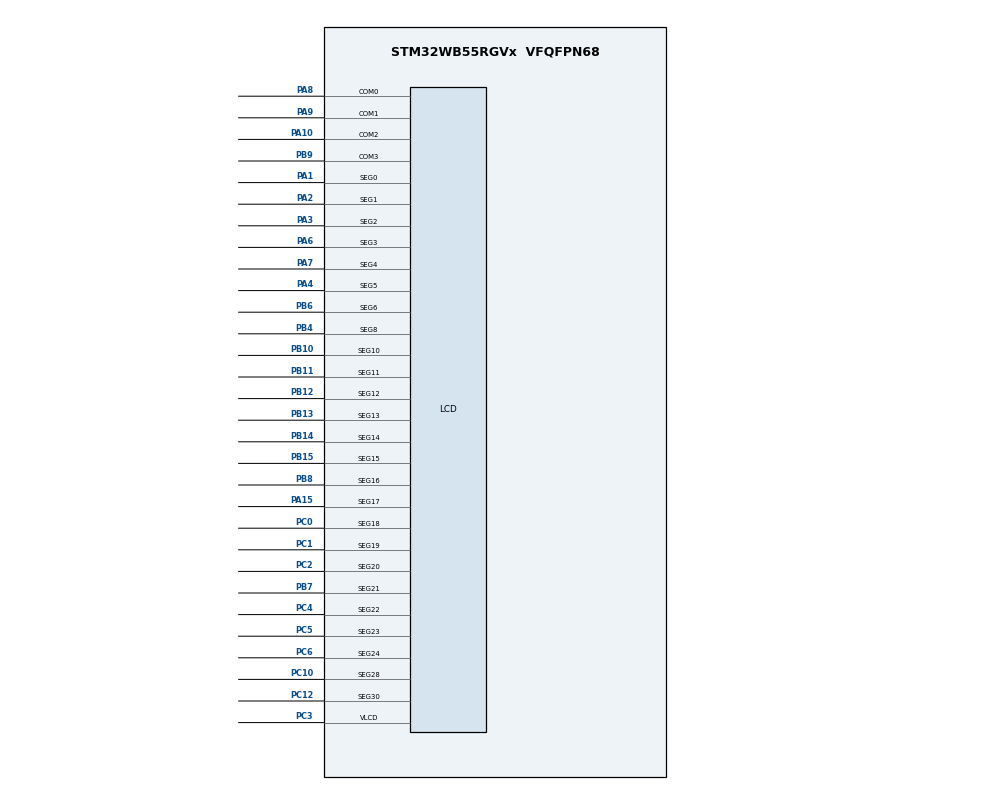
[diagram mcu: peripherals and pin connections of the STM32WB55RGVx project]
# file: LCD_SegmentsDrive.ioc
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LCD.Prescaler=LCD_PRESCALER_4
LCD.PulseOnDuration=LCD_PULSEONDURATION_2
Mcu.Family=STM32WB
Mcu.Name=STM32WB55RGVx
Mcu.Package=VFQFPN68
NVIC.LCD_IRQn=true\:0\:0\:false\:false\:true\:true\:false
NVIC.PriorityGroup=NVIC_PRIORITYGROUP_4
OSC_IN.Signal=RCC_OSC_IN
OSC_OUT.Signal=RCC_OSC_OUT
PA1.Mode=SEG0
PA1.Signal=LCD_SEG0
PA10.Mode=1/4 Duty Cycle
PA10.Signal=LCD_COM2
PA13.GPIO_Label=JTMS
PA13.Signal=SYS_JTMS-SWDIO
PA14.GPIO_Label=JTCK
PA14.Signal=SYS_JTCK-SWCLK
PA15.Mode=SEG17
PA15.Signal=LCD_SEG17
PA2.Mode=SEG1
PA2.Signal=LCD_SEG1
PA3.Mode=SEG2
PA3.Signal=LCD_SEG2
PA4.Mode=SEG5
PA4.Signal=LCD_SEG5
PA6.Mode=SEG3
PA6.Signal=LCD_SEG3
PA7.Mode=SEG4
PA7.Signal=LCD_SEG4
PA8.Mode=1/4 Duty Cycle
PA8.Signal=LCD_COM0
PA9.Mode=1/4 Duty Cycle
PA9.Signal=LCD_COM1
PB10.Mode=SEG10
PB10.Signal=LCD_SEG10
PB11.Mode=SEG11
PB11.Signal=LCD_SEG11
PB12.Mode=SEG12
PB12.Signal=LCD_SEG12
PB13.Mode=SEG13
PB13.Signal=LCD_SEG13
PB14.Mode=SEG14
PB14.Signal=LCD_SEG14
PB15.Mode=SEG15
PB15.Signal=LCD_SEG15
PB3.GPIO_Label=JTDO
PB3.Signal=SYS_JTDO-SWO
PB4.Mode=SEG8
PB4.Signal=LCD_SEG8
PB6.Mode=SEG6
PB6.Signal=LCD_SEG6
PB7.Mode=SEG21
PB7.Signal=LCD_SEG21
PB8.Mode=SEG16
PB8.Signal=LCD_SEG16
PB9.Mode=1/4 Duty Cycle
PB9.Signal=LCD_COM3
PC0.Mode=SEG18
PC0.Signal=LCD_SEG18
PC1.Mode=SEG19
PC1.Signal=LCD_SEG19
PC10.Mode=SEG28
PC10.Signal=LCD_SEG28
PC12.Mode=SEG30
PC12.Signal=LCD_SEG30
PC13.Signal=SYS_WKUP2
PC14-OSC32_IN.Signal=RCC_OSC32_IN
PC15-OSC32_OUT.Signal=RCC_OSC32_OUT
PC2.Mode=SEG20
PC2.Signal=LCD_SEG20
PC3.Mode=1/4 Duty Cycle
PC3.Signal=LCD_VLCD
PC4.Mode=SEG22
PC4.Signal=LCD_SEG22
PC5.Mode=SEG23
PC5.Signal=LCD_SEG23
PC6.Mode=SEG24
PC6.Signal=LCD_SEG24
ProjectManager.HeapSize=0x200
ProjectManager.StackSize=0x400
ProjectManager.TargetToolchain=EWARM V8
RCC.ADCFreq_Value=16000000
RCC.AHB2CLKDivider=RCC_SYSCLK_DIV2
RCC.AHBFreq_Value=64000000
RCC.APB1Freq_Value=64000000
RCC.APB1TimFreq_Value=64000000
RCC.APB2Freq_Value=64000000
RCC.APB2TimFreq_Value=64000000
RCC.APB3Freq_Value=16000000
RCC.Cortex2_Div=SYSTICK_CLKSOURCE_HCLK_DIV8
RCC.CortexFreq_Value=64000000
RCC.HCLKFreq_Value=64000000
RCC.HSE_VALUE=32000000
RCC.HSI48_VALUE=48000000
RCC.HSI_VALUE=16000000
RCC.LSE_VALUE=32768
RCC.PLLN=32
RCC.SMPSCLockSelectionVirtual=RCC_SMPSCLKSOURCE_HSI
RCC.SMPSCLockSelectionVirtualVirtual=RCC_SMPSCLKSOURCE_HSI
RCC.SYSCLKFreq_VALUE=64000000
RCC.SYSCLKSource=RCC_SYSCLKSOURCE_PLLCLK
RCC.USBFreq_Value=16000000
RCC.VCOOutputFreq_Value=128000000
VP_LCD_LCD_mux.Mode=Multiplex
board=P-NUCLEO-WB55.Nucleo

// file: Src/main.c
/* USER CODE BEGIN Header */
/**
  ******************************************************************************
  * @file           : main.c
  * @brief          : Main program body
  ******************************************************************************
  * @attention
  *
  * <h2><center>&copy; Copyright (c) 2019 STMicroelectronics.
  * All rights reserved.</center></h2>
  *
  * This software component is licensed by ST under BSD 3-Clause license,
  * the "License"; You may not use this file except in compliance with the
  * License. You may obtain a copy of the License at:
  *                        opensource.org/licenses/BSD-3-Clause
  *
  ******************************************************************************
  */
/* USER CODE END Header */
#include "main.h"

LCD_HandleTypeDef hlcd;

void SystemClock_Config(void);
static void MX_GPIO_Init(void);
static void MX_LCD_Init(void);

int main(void)
{

  /* MCU Configuration--------------------------------------------------------*/

  /* Reset of all peripherals, Initializes the Flash interface and the Systick. */
  HAL_Init();

  /* Configure the system clock */
  SystemClock_Config();

  /* USER CODE BEGIN SysInit */

  /* Configure LED1 */
  BSP_LED_Init(LED1);

  /* Configure LED2 */
  BSP_LED_Init(LED2);

  /* Configure LED3 */
  BSP_LED_Init(LED3);

  /* Configure SW2 */
  BSP_PB_Init(BUTTON_SW2, BUTTON_MODE_GPIO);

  /* Configure SW3 */
  BSP_PB_Init(BUTTON_SW3, BUTTON_MODE_GPIO);

  /* SW1 is in conflict with LCDGlass pins and cannot be used in this example */

  /* USER CODE END SysInit */

  /* Initialize all configured peripherals */
  MX_GPIO_Init();
  MX_LCD_Init();
  /* USER CODE BEGIN 2 */

  /* Set all Leds */
  BSP_LED_On(LED1);
  BSP_LED_On(LED2);
  BSP_LED_On(LED3);

  /* USER CODE END 2 */

  /* Infinite loop */
  /* USER CODE BEGIN WHILE */

  /* Demonstrate the blink mode */
  BSP_LCD_GLASS_DisplayString(&hlcd, (uint8_t*)"Bat OK");
  BSP_LCD_GLASS_BarLevelConfig(&hlcd, BATTERYLEVEL_FULL);
  HAL_Delay(2000);
  BSP_LCD_GLASS_BarLevelConfig(&hlcd, BATTERYLEVEL_3_4);
  HAL_Delay(2000);
  BSP_LCD_GLASS_BarLevelConfig(&hlcd, BATTERYLEVEL_1_2);
  HAL_Delay(2000);
  BSP_LCD_GLASS_DisplayString(&hlcd, (uint8_t*)"LowBat");
  BSP_LCD_GLASS_BarLevelConfig(&hlcd, BATTERYLEVEL_1_4);
  HAL_Delay(3000);
  BSP_LCD_GLASS_BlinkConfig(&hlcd, LCD_BLINKMODE_ALLSEG_ALLCOM, LCD_BLINKFREQUENCY_DIV512);
  HAL_Delay(7000);
  BSP_LCD_GLASS_BlinkConfig(&hlcd, LCD_BLINKMODE_OFF, LCD_BLINKFREQUENCY_DIV512);
  HAL_Delay(1000);

  /* Display a long string */
  BSP_LCD_GLASS_ScrollSentence(&hlcd, (uint8_t*)"Hello world   ", 5, 200);
  HAL_Delay(1000);

  /* Clear LCD content */
  BSP_LCD_GLASS_Clear(&hlcd);

  /* Display some letters */
  for(uint8_t ch = 'A'; ch <= 'Z'; ch++)
  {
    for(uint8_t pos = 0; pos < 6; pos++)
    {
      BSP_LCD_GLASS_DisplayChar(&hlcd, &ch, POINT_OFF,  DOUBLEPOINT_OFF, pos);
    }
    HAL_Delay(200);
  }

  /* Display some numbers */
  for(uint8_t ch = '0'; ch <= '9'; ch++)
  {
    for(uint8_t pos = 0; pos < 6; pos++)
    {
      BSP_LCD_GLASS_DisplayChar(&hlcd, &ch, POINT_ON,  DOUBLEPOINT_ON, pos);
    }
    HAL_Delay(200);
  }

  /* Display the battery level */
  BSP_LCD_GLASS_BarLevelConfig(&hlcd, BATTERYLEVEL_1_4);
  HAL_Delay(200);
  BSP_LCD_GLASS_BarLevelConfig(&hlcd, BATTERYLEVEL_1_2);
  HAL_Delay(200);
  BSP_LCD_GLASS_BarLevelConfig(&hlcd, BATTERYLEVEL_3_4);
  HAL_Delay(200);
  BSP_LCD_GLASS_BarLevelConfig(&hlcd, BATTERYLEVEL_FULL);
  HAL_Delay(200);
  BSP_LCD_GLASS_BarLevelConfig(&hlcd, BATTERYLEVEL_OFF);
  HAL_Delay(200);

  while (1)
  {
    /* USER CODE END WHILE */

  }
}

void SystemClock_Config(void)
{
  RCC_OscInitTypeDef RCC_OscInitStruct = {0};
  RCC_ClkInitTypeDef RCC_ClkInitStruct = {0};
  RCC_PeriphCLKInitTypeDef PeriphClkInitStruct = {0};

  /** Configure the main internal regulator output voltage
  */
  __HAL_PWR_VOLTAGESCALING_CONFIG(PWR_REGULATOR_VOLTAGE_SCALE1);
  /** Initializes the RCC Oscillators according to the specified parameters
  * in the RCC_OscInitTypeDef structure.
  */
  RCC_OscInitStruct.OscillatorType = RCC_OSCILLATORTYPE_HSI|RCC_OSCILLATORTYPE_LSI1
                              |RCC_OSCILLATORTYPE_MSI;
  RCC_OscInitStruct.HSIState = RCC_HSI_ON;
  RCC_OscInitStruct.MSIState = RCC_MSI_ON;
  RCC_OscInitStruct.HSICalibrationValue = RCC_HSICALIBRATION_DEFAULT;
  RCC_OscInitStruct.MSICalibrationValue = RCC_MSICALIBRATION_DEFAULT;
  RCC_OscInitStruct.MSIClockRange = RCC_MSIRANGE_6;
  RCC_OscInitStruct.LSIState = RCC_LSI_ON;
  RCC_OscInitStruct.PLL.PLLState = RCC_PLL_ON;
  RCC_OscInitStruct.PLL.PLLSource = RCC_PLLSOURCE_MSI;
  RCC_OscInitStruct.PLL.PLLM = RCC_PLLM_DIV1;
  RCC_OscInitStruct.PLL.PLLN = 32;
  RCC_OscInitStruct.PLL.PLLP = RCC_PLLP_DIV2;
  RCC_OscInitStruct.PLL.PLLR = RCC_PLLR_DIV2;
  RCC_OscInitStruct.PLL.PLLQ = RCC_PLLQ_DIV2;
  if (HAL_RCC_OscConfig(&RCC_OscInitStruct) != HAL_OK)
  {
    Error_Handler();
  }
  /** Configure the SYSCLKSource, HCLK, PCLK1 and PCLK2 clocks dividers
  */
  RCC_ClkInitStruct.ClockType = RCC_CLOCKTYPE_HCLK4|RCC_CLOCKTYPE_HCLK2
                              |RCC_CLOCKTYPE_HCLK|RCC_CLOCKTYPE_SYSCLK
                              |RCC_CLOCKTYPE_PCLK1|RCC_CLOCKTYPE_PCLK2;
  RCC_ClkInitStruct.SYSCLKSource = RCC_SYSCLKSOURCE_PLLCLK;
  RCC_ClkInitStruct.AHBCLKDivider = RCC_SYSCLK_DIV1;
  RCC_ClkInitStruct.APB1CLKDivider = RCC_HCLK_DIV1;
  RCC_ClkInitStruct.APB2CLKDivider = RCC_HCLK_DIV1;
  RCC_ClkInitStruct.AHBCLK2Divider = RCC_SYSCLK_DIV2;
  RCC_ClkInitStruct.AHBCLK4Divider = RCC_SYSCLK_DIV1;

  if (HAL_RCC_ClockConfig(&RCC_ClkInitStruct, FLASH_LATENCY_3) != HAL_OK)
  {
    Error_Handler();
  }
  /** Initializes the peripherals clocks
  */
  PeriphClkInitStruct.PeriphClockSelection = RCC_PERIPHCLK_SMPS|RCC_PERIPHCLK_RTC;
  PeriphClkInitStruct.RTCClockSelection = RCC_RTCCLKSOURCE_LSI;
  PeriphClkInitStruct.SmpsClockSelection = RCC_SMPSCLKSOURCE_HSI;
  PeriphClkInitStruct.SmpsDivSelection = RCC_SMPSCLKDIV_RANGE1;
  if (HAL_RCCEx_PeriphCLKConfig(&PeriphClkInitStruct) != HAL_OK)
  {
    Error_Handler();
  }
}

static void MX_LCD_Init(void)
{

  hlcd.Instance = LCD;
  hlcd.Init.Prescaler = LCD_PRESCALER_4;
  hlcd.Init.Divider = LCD_DIVIDER_16;
  hlcd.Init.Duty = LCD_DUTY_1_4;
  hlcd.Init.Bias = LCD_BIAS_1_4;
  hlcd.Init.VoltageSource = LCD_VOLTAGESOURCE_INTERNAL;
  hlcd.Init.Contrast = LCD_CONTRASTLEVEL_0;
  hlcd.Init.DeadTime = LCD_DEADTIME_0;
  hlcd.Init.PulseOnDuration = LCD_PULSEONDURATION_2;
  hlcd.Init.MuxSegment = LCD_MUXSEGMENT_ENABLE;
  hlcd.Init.BlinkMode = LCD_BLINKMODE_OFF;
  hlcd.Init.BlinkFrequency = LCD_BLINKFREQUENCY_DIV8;
  hlcd.Init.HighDrive = LCD_HIGHDRIVE_DISABLE;
  if (HAL_LCD_Init(&hlcd) != HAL_OK)
  {
    Error_Handler();
  }

}

static void MX_GPIO_Init(void)
{

  /* GPIO Ports Clock Enable */
  __HAL_RCC_GPIOC_CLK_ENABLE();
  __HAL_RCC_GPIOB_CLK_ENABLE();
  __HAL_RCC_GPIOA_CLK_ENABLE();

}

void Error_Handler(void)
{
}

/************************ (C) COPYRIGHT STMicroelectronics *****END OF FILE****/
